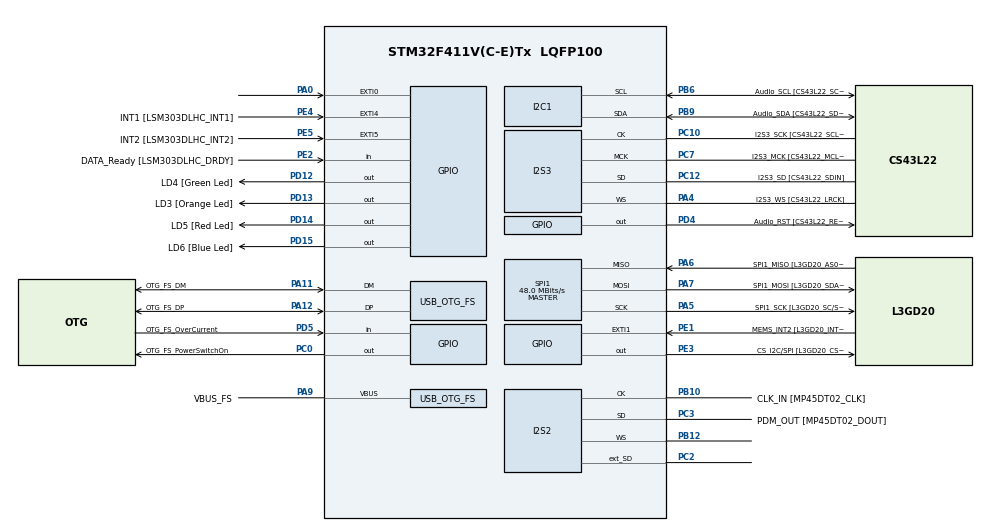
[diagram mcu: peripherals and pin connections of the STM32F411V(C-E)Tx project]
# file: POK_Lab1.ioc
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I2S2.AudioFreq=I2S_AUDIOFREQ_96K
I2S2.ErrorAudioFreq=0.8 %
I2S2.FullDuplexMode=I2S_FULLDUPLEXMODE_ENABLE
I2S2.Instance=SPI$Index
I2S2.RealAudioFreq=96.774 KHz
I2S2.VirtualMode=I2S_MODE_MASTER
I2S3.AudioFreq=I2S_AUDIOFREQ_96K
I2S3.ErrorAudioFreq=-2.34 %
I2S3.FullDuplexMode=I2S_FULLDUPLEXMODE_DISABLE
I2S3.Instance=SPI$Index
I2S3.RealAudioFreq=93.75 KHz
I2S3.VirtualMode=I2S_MODE_MASTER
Mcu.Family=STM32F4
Mcu.Name=STM32F411V(C-E)Tx
Mcu.Package=LQFP100
NVIC.OTG_FS_IRQn=true\:0\:0\:false\:false\:true\:true\:true\:true
NVIC.PriorityGroup=NVIC_PRIORITYGROUP_0
PA0-WKUP.GPIO_ModeDefaultEXTI=GPIO_MODE_EVT_RISING
PA0-WKUP.Signal=GPXTI0
PA10.GPIO_Label=OTG_FS_ID
PA10.Signal=USB_OTG_FS_ID
PA11.GPIO_Label=OTG_FS_DM
PA11.Mode=Host_Only
PA11.Signal=USB_OTG_FS_DM
PA12.GPIO_Label=OTG_FS_DP
PA12.Mode=Host_Only
PA12.Signal=USB_OTG_FS_DP
PA13.GPIO_Label=SWDIO
PA13.Mode=Serial_Wire
PA13.Signal=SYS_JTMS-SWDIO
PA14.GPIO_Label=SWCLK
PA14.Mode=Serial_Wire
PA14.Signal=SYS_JTCK-SWCLK
PA4.GPIO_Label=I2S3_WS [CS43L22_LRCK]
PA4.GPIO_Mode=GPIO_MODE_AF_PP
PA4.GPIO_PuPd=GPIO_NOPULL
PA4.GPIO_Speed=GPIO_SPEED_FREQ_LOW
PA4.Mode=Half_Duplex_Master
PA4.Signal=I2S3_WS
PA5.GPIO_Label=SPI1_SCK [L3GD20_SC/SPC]
PA5.Mode=Full_Duplex_Master
PA5.Signal=SPI1_SCK
PA6.GPIO_Label=SPI1_MISO [L3GD20_AS0/SDO]
PA6.Mode=Full_Duplex_Master
PA6.Signal=SPI1_MISO
PA7.GPIO_Label=SPI1_MOSI [L3GD20_SDA/SDI/SDO]
PA7.Mode=Full_Duplex_Master
PA7.Signal=SPI1_MOSI
PA9.GPIO_Label=VBUS_FS
PA9.Mode=Activate_VBUS
PA9.Signal=USB_OTG_FS_VBUS
PB10.GPIO_Label=CLK_IN [MP45DT02_CLK]
PB10.Mode=Full_Duplex_Master
PB10.Signal=I2S2_CK
PB12.Mode=Full_Duplex_Master
PB12.Signal=I2S2_WS
PB3.GPIO_Label=SWO
PB3.Signal=SYS_JTDO-SWO
PB6.GPIO_Label=Audio_SCL [CS43L22_SCL]
PB6.GPIO_Mode=GPIO_MODE_AF_OD
PB6.GPIO_Pu=GPIO_PULLUP
PB6.GPIO_PuPd=GPIO_NOPULL
PB6.GPIO_Speed=GPIO_SPEED_FREQ_LOW
PB6.Mode=I2C
PB6.Signal=I2C1_SCL
PB9.GPIO_Label=Audio_SDA [CS43L22_SDA]
PB9.GPIO_Mode=GPIO_MODE_AF_OD
PB9.GPIO_Pu=GPIO_PULLUP
PB9.GPIO_PuPd=GPIO_NOPULL
PB9.GPIO_Speed=GPIO_SPEED_FREQ_LOW
PB9.Mode=I2C
PB9.Signal=I2C1_SDA
PC0.GPIO_Label=OTG_FS_PowerSwitchOn
PC0.PinState=GPIO_PIN_SET
PC0.Signal=GPIO_Output
PC10.GPIO_Label=I2S3_SCK [CS43L22_SCLK]
PC10.GPIO_Mode=GPIO_MODE_AF_PP
PC10.GPIO_PuPd=GPIO_NOPULL
PC10.GPIO_Speed=GPIO_SPEED_FREQ_LOW
PC10.Mode=Half_Duplex_Master
PC10.Signal=I2S3_CK
PC12.GPIO_Label=I2S3_SD [CS43L22_SDIN]
PC12.GPIO_Mode=GPIO_MODE_AF_PP
PC12.GPIO_PuPd=GPIO_NOPULL
PC12.GPIO_Speed=GPIO_SPEED_FREQ_LOW
PC12.Mode=Half_Duplex_Master
PC12.Signal=I2S3_SD
PC14-OSC32_IN.Mode=LSE-External-Oscillator
PC14-OSC32_IN.Signal=RCC_OSC32_IN
PC15-OSC32_OUT.Mode=LSE-External-Oscillator
PC15-OSC32_OUT.Signal=RCC_OSC32_OUT
PC2.Mode=Full_Duplex_Master
PC2.Signal=I2S2_ext_SD
PC3.GPIO_Label=PDM_OUT [MP45DT02_DOUT]
PC3.Mode=Full_Duplex_Master
PC3.Signal=I2S2_SD
PC7.GPIO_Label=I2S3_MCK [CS43L22_MCLK]
PC7.GPIO_Mode=GPIO_MODE_AF_PP
PC7.GPIO_PuPd=GPIO_NOPULL
PC7.GPIO_Speed=GPIO_SPEED_FREQ_LOW
PC7.Mode=Master_Clock_Activated
PC7.Signal=I2S3_MCK
PD12.GPIO_Label=LD4 [Green Led]
PD12.GPIO_PuPd=GPIO_NOPULL
PD12.GPIO_Speed=GPIO_SPEED_FREQ_LOW
PD12.Signal=GPIO_Output
PD13.GPIO_Label=LD3 [Orange Led]
PD13.GPIO_PuPd=GPIO_NOPULL
PD13.GPIO_Speed=GPIO_SPEED_FREQ_LOW
PD13.Signal=GPIO_Output
PD14.GPIO_Label=LD5 [Red Led]
PD14.GPIO_PuPd=GPIO_NOPULL
PD14.GPIO_Speed=GPIO_SPEED_FREQ_LOW
PD14.Signal=GPIO_Output
PD15.GPIO_Label=LD6 [Blue Led]
PD15.GPIO_PuPd=GPIO_NOPULL
PD15.GPIO_Speed=GPIO_SPEED_FREQ_LOW
PD15.Signal=GPIO_Output
PD4.GPIO_Label=Audio_RST [CS43L22_RESET]
PD4.Signal=GPIO_Output
PD5.GPIO_Label=OTG_FS_OverCurrent
PD5.Signal=GPIO_Input
PE1.GPIO_Label=MEMS_INT2 [L3GD20_INT2]
PE1.GPIO_ModeDefaultEXTI=GPIO_MODE_EVT_RISING
PE1.Signal=GPXTI1
PE2.GPIO_Label=DATA_Ready [LSM303DLHC_DRDY]
PE2.Signal=GPIO_Input
PE3.GPIO_Label=CS_I2C/SPI [L3GD20_CS_I2C/SPI]
PE3.Signal=GPIO_Output
PE4.GPIO_Label=INT1 [LSM303DLHC_INT1]
PE4.GPIO_ModeDefaultEXTI=GPIO_MODE_EVT_RISING
PE4.Signal=GPXTI4
PE5.GPIO_Label=INT2 [LSM303DLHC_INT2]
PE5.GPIO_ModeDefaultEXTI=GPIO_MODE_EVT_RISING
PE5.Signal=GPXTI5
PH0\ -\ OSC_IN.Mode=HSE-External-Oscillator
PH0\ -\ OSC_IN.Signal=RCC_OSC_IN
PH1\ -\ OSC_OUT.Mode=HSE-External-Oscillator
PH1\ -\ OSC_OUT.Signal=RCC_OSC_OUT
ProjectManager.HeapSize=0x200
ProjectManager.StackSize=0x400
ProjectManager.TargetToolchain=STM32CubeIDE
RCC.AHBFreq_Value=0
RCC.APB1CLKDivider=RCC_HCLK_DIV4
RCC.APB1Freq_Value=0
RCC.APB1TimFreq_Value=48000000
RCC.APB2Freq_Value=0
RCC.APB2TimFreq_Value=0
RCC.CortexFreq_Value=0
RCC.FLatency=FLASH_LATENCY_3
RCC.HCLKFreq_Value=0
RCC.HSE_VALUE=8000000
RCC.PLLI2SM=5
RCC.PLLI2SN=200
RCC.PLLM=4
RCC.PLLP=RCC_PLLP_DIV4
RCC.PLLQ=8
RCC.SYSCLKSource=RCC_SYSCLKSOURCE_PLLCLK
SPI1.BaudRatePrescaler=SPI_BAUDRATEPRESCALER_2
SPI1.CalculateBaudRate=48.0 MBits/s
SPI1.Direction=SPI_DIRECTION_2LINES
SPI1.Mode=SPI_MODE_MASTER
SPI1.VirtualType=VM_MASTER
USB_HOST.BSP.number=1
USB_HOST.USBH_HandleTypeDef=hUsbHostFS
USB_HOST.VirtualModeFS=Cdc
USB_HOST0.BSP.STBoard=false
USB_HOST0.BSP.api=Unknown
USB_HOST0.BSP.instance=PC0
USB_HOST0.BSP.ip=GPIO
USB_HOST0.BSP.mode=Output
USB_HOST0.BSP.name=Drive_VBUS_FS
USB_HOST0.BSP.solution=PC0
USB_OTG_FS.VirtualMode=Host_Only
USB_OTG_FS.phy_itface=HCD_PHY_EMBEDDED
VP_USB_HOST_VS_USB_HOST_CDC_FS.Mode=CDC_FS
board=STM32F411E-DISCO

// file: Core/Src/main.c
/* USER CODE BEGIN Header */
/**
  ******************************************************************************
  * @file           : main.c
  * @brief          : Main program body
  ******************************************************************************
  * @attention
  *
  * Copyright (c) 2024 STMicroelectronics.
  * All rights reserved.
  *
  * This software is licensed under terms that can be found in the LICENSE file
  * in the root directory of this software component.
  * If no LICENSE file comes with this software, it is provided AS-IS.
  *
  ******************************************************************************
  */
/* USER CODE END Header */
#include "main.h"
#include "usb_host.h"
#include <stdbool.h>

I2C_HandleTypeDef hi2c1;

I2S_HandleTypeDef hi2s2;
I2S_HandleTypeDef hi2s3;

SPI_HandleTypeDef hspi1;

void SystemClock_Config(void);
void PeriphCommonClock_Config(void);
static void MX_GPIO_Init(void);
static void MX_I2C1_Init(void);
static void MX_I2S2_Init(void);
static void MX_I2S3_Init(void);
static void MX_SPI1_Init(void);
void MX_USB_HOST_Process(void);

int main(void)
{

  /* MCU Configuration--------------------------------------------------------*/

  /* Reset of all peripherals, Initializes the Flash interface and the Systick. */
  HAL_Init();

  /* Configure the system clock */
  SystemClock_Config();

  /* Configure the peripherals common clocks */
  PeriphCommonClock_Config();

  /* Initialize all configured peripherals */
  MX_GPIO_Init();
  MX_I2C1_Init();
  MX_I2S2_Init();
  MX_I2S3_Init();
  MX_SPI1_Init();
  MX_USB_HOST_Init();

  /* Infinite loop */
  /* USER CODE BEGIN WHILE */
  uint8_t button = 0;
  int i_1 = 3;
  while (1)
  {
	 if (button == 0){
		 for (int i = i_1; i <=6; i++){
			if (i == 3){
				HAL_GPIO_WritePin (LD3_GPIO_Port, LD3_Pin, 1);
				HAL_Delay (200);
				HAL_GPIO_WritePin (LD3_GPIO_Port, LD3_Pin, 0);
			}

			if(i == 4){
				HAL_GPIO_WritePin (LD4_GPIO_Port, LD4_Pin, 1);
				HAL_Delay (200);
				HAL_GPIO_WritePin (LD4_GPIO_Port, LD4_Pin, 0);
			}

			if(i == 5){
				HAL_GPIO_WritePin (LD6_GPIO_Port, LD6_Pin, 1);
				HAL_Delay (200);
				HAL_GPIO_WritePin (LD6_GPIO_Port, LD6_Pin, 0);
			}

			if(i == 6){
				HAL_GPIO_WritePin (LD5_GPIO_Port, LD5_Pin, 1);
				HAL_Delay (200);
				HAL_GPIO_WritePin (LD5_GPIO_Port, LD5_Pin, 0);
			}
			HAL_Delay (200);
			if (HAL_GPIO_ReadPin (GPIOA, GPIO_PIN_1) == GPIO_PIN_SET){
				button = 1;
				i_1 = i;
				break;
			}
		}
		if (button == 0){
			i_1 = 3;
		}
	}
	if (button == 1) {
		for (int i = i_1; i >=3; i--){
			if (i == 3){
				HAL_GPIO_WritePin (LD3_GPIO_Port, LD3_Pin, 1);
				HAL_Delay (200);
				HAL_GPIO_WritePin (LD3_GPIO_Port, LD3_Pin, 0);
			}
			if(i == 4){
				HAL_GPIO_WritePin (LD4_GPIO_Port, LD4_Pin, 1);
				HAL_Delay (200);
				HAL_GPIO_WritePin (LD4_GPIO_Port, LD4_Pin, 0);
			}
			if(i == 5){
				HAL_GPIO_WritePin (LD6_GPIO_Port, LD6_Pin, 1);
				HAL_Delay (200);
				HAL_GPIO_WritePin (LD6_GPIO_Port, LD6_Pin, 0);
			}
			if(i == 6){
				HAL_GPIO_WritePin (LD5_GPIO_Port, LD5_Pin, 1);
				HAL_Delay (200);
				HAL_GPIO_WritePin (LD5_GPIO_Port, LD5_Pin, 0);
			}
			HAL_Delay (200);
			if (HAL_GPIO_ReadPin (GPIOA, GPIO_PIN_1) == GPIO_PIN_SET){
				button = 0;
				i_1 = i;
				break;
			}
		}
		if (button == 1){
			i_1 = 6;
		}
	}

//	HAL_GPIO_WritePin (LD3_GPIO_Port, LD3_Pin, 1);
//	HAL_Delay (200);
//	HAL_GPIO_WritePin (LD3_GPIO_Port, LD3_Pin, 0);
//	HAL_Delay (200);
//	HAL_GPIO_WritePin (LD4_GPIO_Port, LD4_Pin, 1);
//	HAL_Delay (200);
//	HAL_GPIO_WritePin (LD4_GPIO_Port, LD4_Pin, 0);
//	HAL_Delay (200);
//	HAL_GPIO_WritePin (LD6_GPIO_Port, LD6_Pin, 1);
//	HAL_Delay (200);
//	HAL_GPIO_WritePin (LD6_GPIO_Port, LD6_Pin, 0);
//	HAL_Delay (200);
//	HAL_GPIO_WritePin (LD5_GPIO_Port, LD5_Pin, 1);
//	HAL_Delay (200);
//	HAL_GPIO_WritePin (LD5_GPIO_Port, LD5_Pin, 0);
//	HAL_Delay (200);
    /* USER CODE END WHILE */
    MX_USB_HOST_Process();

  }
}

void SystemClock_Config(void)
{
  RCC_OscInitTypeDef RCC_OscInitStruct = {0};
  RCC_ClkInitTypeDef RCC_ClkInitStruct = {0};

  /** Configure the main internal regulator output voltage
  */
  __HAL_RCC_PWR_CLK_ENABLE();
  __HAL_PWR_VOLTAGESCALING_CONFIG(PWR_REGULATOR_VOLTAGE_SCALE1);

  /** Initializes the RCC Oscillators according to the specified parameters
  * in the RCC_OscInitTypeDef structure.
  */
  RCC_OscInitStruct.OscillatorType = RCC_OSCILLATORTYPE_HSE;
  RCC_OscInitStruct.HSEState = RCC_HSE_ON;
  RCC_OscInitStruct.PLL.PLLState = RCC_PLL_ON;
  RCC_OscInitStruct.PLL.PLLSource = RCC_PLLSOURCE_HSE;
  RCC_OscInitStruct.PLL.PLLM = 4;
  RCC_OscInitStruct.PLL.PLLN = 192;
  RCC_OscInitStruct.PLL.PLLP = RCC_PLLP_DIV4;
  RCC_OscInitStruct.PLL.PLLQ = 8;
  if (HAL_RCC_OscConfig(&RCC_OscInitStruct) != HAL_OK)
  {
    Error_Handler();
  }

  /** Initializes the CPU, AHB and APB buses clocks
  */
  RCC_ClkInitStruct.ClockType = RCC_CLOCKTYPE_HCLK|RCC_CLOCKTYPE_SYSCLK
                              |RCC_CLOCKTYPE_PCLK1|RCC_CLOCKTYPE_PCLK2;
  RCC_ClkInitStruct.SYSCLKSource = RCC_SYSCLKSOURCE_PLLCLK;
  RCC_ClkInitStruct.AHBCLKDivider = RCC_SYSCLK_DIV1;
  RCC_ClkInitStruct.APB1CLKDivider = RCC_HCLK_DIV4;
  RCC_ClkInitStruct.APB2CLKDivider = RCC_HCLK_DIV1;

  if (HAL_RCC_ClockConfig(&RCC_ClkInitStruct, FLASH_LATENCY_3) != HAL_OK)
  {
    Error_Handler();
  }
}

void PeriphCommonClock_Config(void)
{
  RCC_PeriphCLKInitTypeDef PeriphClkInitStruct = {0};

  /** Initializes the peripherals clock
  */
  PeriphClkInitStruct.PeriphClockSelection = RCC_PERIPHCLK_I2S;
  PeriphClkInitStruct.PLLI2S.PLLI2SN = 200;
  PeriphClkInitStruct.PLLI2S.PLLI2SM = 5;
  PeriphClkInitStruct.PLLI2S.PLLI2SR = 2;
  if (HAL_RCCEx_PeriphCLKConfig(&PeriphClkInitStruct) != HAL_OK)
  {
    Error_Handler();
  }
}

static void MX_I2C1_Init(void)
{

  hi2c1.Instance = I2C1;
  hi2c1.Init.ClockSpeed = 100000;
  hi2c1.Init.DutyCycle = I2C_DUTYCYCLE_2;
  hi2c1.Init.OwnAddress1 = 0;
  hi2c1.Init.AddressingMode = I2C_ADDRESSINGMODE_7BIT;
  hi2c1.Init.DualAddressMode = I2C_DUALADDRESS_DISABLE;
  hi2c1.Init.OwnAddress2 = 0;
  hi2c1.Init.GeneralCallMode = I2C_GENERALCALL_DISABLE;
  hi2c1.Init.NoStretchMode = I2C_NOSTRETCH_DISABLE;
  if (HAL_I2C_Init(&hi2c1) != HAL_OK)
  {
    Error_Handler();
  }

}

static void MX_I2S2_Init(void)
{

  hi2s2.Instance = SPI2;
  hi2s2.Init.Mode = I2S_MODE_MASTER_TX;
  hi2s2.Init.Standard = I2S_STANDARD_PHILIPS;
  hi2s2.Init.DataFormat = I2S_DATAFORMAT_16B;
  hi2s2.Init.MCLKOutput = I2S_MCLKOUTPUT_DISABLE;
  hi2s2.Init.AudioFreq = I2S_AUDIOFREQ_96K;
  hi2s2.Init.CPOL = I2S_CPOL_LOW;
  hi2s2.Init.ClockSource = I2S_CLOCK_PLL;
  hi2s2.Init.FullDuplexMode = I2S_FULLDUPLEXMODE_ENABLE;
  if (HAL_I2S_Init(&hi2s2) != HAL_OK)
  {
    Error_Handler();
  }

}

static void MX_I2S3_Init(void)
{

  hi2s3.Instance = SPI3;
  hi2s3.Init.Mode = I2S_MODE_MASTER_TX;
  hi2s3.Init.Standard = I2S_STANDARD_PHILIPS;
  hi2s3.Init.DataFormat = I2S_DATAFORMAT_16B;
  hi2s3.Init.MCLKOutput = I2S_MCLKOUTPUT_ENABLE;
  hi2s3.Init.AudioFreq = I2S_AUDIOFREQ_96K;
  hi2s3.Init.CPOL = I2S_CPOL_LOW;
  hi2s3.Init.ClockSource = I2S_CLOCK_PLL;
  hi2s3.Init.FullDuplexMode = I2S_FULLDUPLEXMODE_DISABLE;
  if (HAL_I2S_Init(&hi2s3) != HAL_OK)
  {
    Error_Handler();
  }

}

static void MX_SPI1_Init(void)
{

  /* SPI1 parameter configuration*/
  hspi1.Instance = SPI1;
  hspi1.Init.Mode = SPI_MODE_MASTER;
  hspi1.Init.Direction = SPI_DIRECTION_2LINES;
  hspi1.Init.DataSize = SPI_DATASIZE_8BIT;
  hspi1.Init.CLKPolarity = SPI_POLARITY_LOW;
  hspi1.Init.CLKPhase = SPI_PHASE_1EDGE;
  hspi1.Init.NSS = SPI_NSS_SOFT;
  hspi1.Init.BaudRatePrescaler = SPI_BAUDRATEPRESCALER_2;
  hspi1.Init.FirstBit = SPI_FIRSTBIT_MSB;
  hspi1.Init.TIMode = SPI_TIMODE_DISABLE;
  hspi1.Init.CRCCalculation = SPI_CRCCALCULATION_DISABLE;
  hspi1.Init.CRCPolynomial = 10;
  if (HAL_SPI_Init(&hspi1) != HAL_OK)
  {
    Error_Handler();
  }

}

static void MX_GPIO_Init(void)
{
  GPIO_InitTypeDef GPIO_InitStruct = {0};

  /* GPIO Ports Clock Enable */
  __HAL_RCC_GPIOE_CLK_ENABLE();
  __HAL_RCC_GPIOC_CLK_ENABLE();
  __HAL_RCC_GPIOH_CLK_ENABLE();
  __HAL_RCC_GPIOA_CLK_ENABLE();
  __HAL_RCC_GPIOB_CLK_ENABLE();
  __HAL_RCC_GPIOD_CLK_ENABLE();

  /*Configure GPIO pin Output Level */
  HAL_GPIO_WritePin(CS_I2C_SPI_GPIO_Port, CS_I2C_SPI_Pin, GPIO_PIN_RESET);

  /*Configure GPIO pin Output Level */
  HAL_GPIO_WritePin(OTG_FS_PowerSwitchOn_GPIO_Port, OTG_FS_PowerSwitchOn_Pin, GPIO_PIN_SET);

  /*Configure GPIO pin Output Level */
  HAL_GPIO_WritePin(GPIOD, LD4_Pin|LD3_Pin|LD5_Pin|LD6_Pin
                          |Audio_RST_Pin, GPIO_PIN_RESET);

  /*Configure GPIO pin : DATA_Ready_Pin */
  GPIO_InitStruct.Pin = DATA_Ready_Pin;
  GPIO_InitStruct.Mode = GPIO_MODE_INPUT;
  GPIO_InitStruct.Pull = GPIO_NOPULL;
  HAL_GPIO_Init(DATA_Ready_GPIO_Port, &GPIO_InitStruct);

  /*Configure GPIO pin : CS_I2C_SPI_Pin */
  GPIO_InitStruct.Pin = CS_I2C_SPI_Pin;
  GPIO_InitStruct.Mode = GPIO_MODE_OUTPUT_PP;
  GPIO_InitStruct.Pull = GPIO_NOPULL;
  GPIO_InitStruct.Speed = GPIO_SPEED_FREQ_LOW;
  HAL_GPIO_Init(CS_I2C_SPI_GPIO_Port, &GPIO_InitStruct);

  /*Configure GPIO pins : INT1_Pin INT2_Pin MEMS_INT2_Pin */
  GPIO_InitStruct.Pin = INT1_Pin|INT2_Pin|MEMS_INT2_Pin;
  GPIO_InitStruct.Mode = GPIO_MODE_EVT_RISING;
  GPIO_InitStruct.Pull = GPIO_NOPULL;
  HAL_GPIO_Init(GPIOE, &GPIO_InitStruct);

  /*Configure GPIO pin : OTG_FS_PowerSwitchOn_Pin */
  GPIO_InitStruct.Pin = OTG_FS_PowerSwitchOn_Pin;
  GPIO_InitStruct.Mode = GPIO_MODE_OUTPUT_PP;
  GPIO_InitStruct.Pull = GPIO_NOPULL;
  GPIO_InitStruct.Speed = GPIO_SPEED_FREQ_LOW;
  HAL_GPIO_Init(OTG_FS_PowerSwitchOn_GPIO_Port, &GPIO_InitStruct);

  /*Configure GPIO pin : PA0 */
  GPIO_InitStruct.Pin = GPIO_PIN_0;
  GPIO_InitStruct.Mode = GPIO_MODE_EVT_RISING;
  GPIO_InitStruct.Pull = GPIO_NOPULL;
  HAL_GPIO_Init(GPIOA, &GPIO_InitStruct);

  /*Configure GPIO pins : LD4_Pin LD3_Pin LD5_Pin LD6_Pin
                           Audio_RST_Pin */
  GPIO_InitStruct.Pin = LD4_Pin|LD3_Pin|LD5_Pin|LD6_Pin
                          |Audio_RST_Pin;
  GPIO_InitStruct.Mode = GPIO_MODE_OUTPUT_PP;
  GPIO_InitStruct.Pull = GPIO_NOPULL;
  GPIO_InitStruct.Speed = GPIO_SPEED_FREQ_LOW;
  HAL_GPIO_Init(GPIOD, &GPIO_InitStruct);

  /*Configure GPIO pin : OTG_FS_OverCurrent_Pin */
  GPIO_InitStruct.Pin = OTG_FS_OverCurrent_Pin;
  GPIO_InitStruct.Mode = GPIO_MODE_INPUT;
  GPIO_InitStruct.Pull = GPIO_NOPULL;
  HAL_GPIO_Init(OTG_FS_OverCurrent_GPIO_Port, &GPIO_InitStruct);

}

void Error_Handler(void)
{
  __disable_irq();
  while (1)
  {
  }
}
